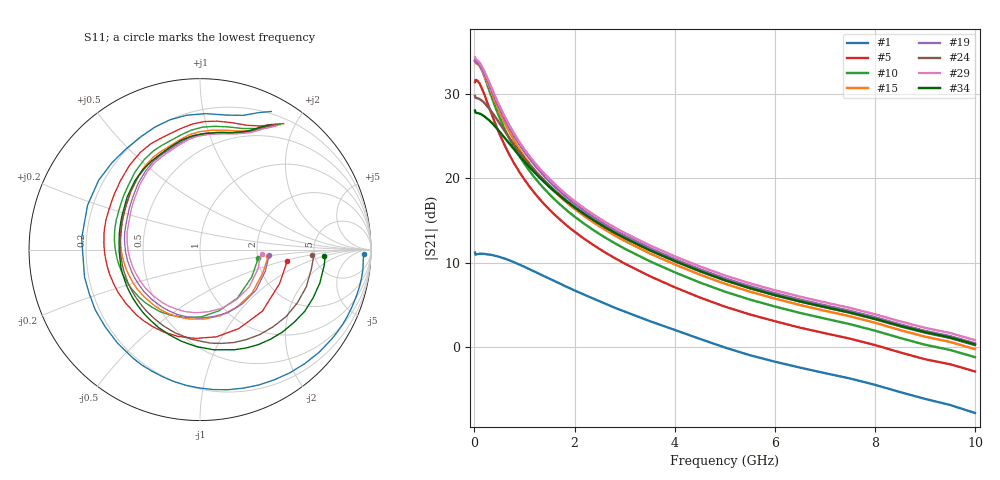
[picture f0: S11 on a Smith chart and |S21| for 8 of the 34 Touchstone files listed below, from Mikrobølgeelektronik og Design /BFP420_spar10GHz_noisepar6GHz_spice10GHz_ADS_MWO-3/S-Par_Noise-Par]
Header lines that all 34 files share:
! Infineon Technologies  Discrete & RF Semiconductors
! BFP420
! Common Emitter S-Parameters:  Nov 2009
# GHz  S  MA  R  50
!  f  S11  S21  S12  S22
! GHz  MAG  ANG  MAG  ANG  MAG  ANG  MAG  ANG
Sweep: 10 MHz to 10 GHz
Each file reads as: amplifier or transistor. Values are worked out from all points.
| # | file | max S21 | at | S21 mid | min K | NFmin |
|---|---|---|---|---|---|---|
| 1 | 2p0V51M0.s2p | 11.2 dB | 10 MHz | 7.5 dB at 1.7 GHz | 0.01 | 0.53 dB |
| 2 | 2p0V53M0.s2p | 20.1 dB | 10 MHz | 12.9 dB at 1.7 GHz | 0.03 | 0.57 dB |
| 3 | 2p0V55M0.s2p | 23.9 dB | 10 MHz | 14.3 dB at 1.7 GHz | 0.05 | 0.66 dB |
| 4 | 2p0V58M0.s2p | 27.1 dB | 10 MHz | 15.1 dB at 1.7 GHz | 0.09 | 0.79 dB |
| 5 | 2p0V520M.s2p | 31.7 dB | 20 MHz | 15.2 dB at 1.7 GHz | 0.23 | 1.23 dB |
| 6 | 2p0V530M.s2p | 32.1 dB | 20 MHz | 13.1 dB at 1.7 GHz | 0.40 | 1.51 dB |
| 7 | 2p0V535M.s2p | 31.5 dB | 20 MHz | 10.8 dB at 1.7 GHz | 0.51 | 1.64 dB |
| 8 | 2p1V00M5.s2p | 6.1 dB | 10 MHz | 3.9 dB at 1.7 GHz | -0.01 | 0.68 dB |
| 9 | 2p1V01M2.s2p | 12.8 dB | 10 MHz | 9.2 dB at 1.7 GHz | 0.01 | 0.53 dB |
| 10 | 2p1V035M.s2p | 34.1 dB | 10 MHz | 17.0 dB at 1.7 GHz | 0.30 | 1.64 dB |
| 11 | 2p1V53M0.s2p | 20.2 dB | 10 MHz | 14.1 dB at 1.7 GHz | -0.02 | 0.57 dB |
| 12 | 2p1V58M0.s2p | 27.3 dB | 10 MHz | 16.8 dB at 1.7 GHz | 0.08 | 0.79 dB |
| 13 | 2p1V512M.s2p | 29.7 dB | 10 MHz | 17.4 dB at 1.7 GHz | 0.11 | 0.95 dB |
| 14 | 2p1V525M.s2p | 33.2 dB | 10 MHz | 17.9 dB at 1.7 GHz | 0.21 | 1.38 dB |
| 15 | 2p1V530M.s2p | 33.9 dB | 10 MHz | 17.9 dB at 1.7 GHz | 0.25 | 1.51 dB |
| 16 | 2p1V535M.s2p | 34.3 dB | 10 MHz | 17.8 dB at 1.7 GHz | 0.27 | 1.64 dB |
| 17 | 2p2V015M.s2p | 31.0 dB | 10 MHz | 17.9 dB at 1.7 GHz | 0.13 | 1.06 dB |
| 18 | 2p2V58M0.s2p | 27.3 dB | 10 MHz | 17.3 dB at 1.7 GHz | 0.07 | 0.79 dB |
| 19 | 2p2V530M.s2p | 34.0 dB | 10 MHz | 18.5 dB at 1.7 GHz | 0.23 | 1.51 dB |
| 20 | 2p2V535M.s2p | 34.4 dB | 10 MHz | 18.5 dB at 1.7 GHz | 0.26 | 1.64 dB |
| 21 | 2p3V00M5.s2p | 6.0 dB | 10 MHz | 4.2 dB at 1.7 GHz | -0.15 | 0.68 dB |
| 22 | 2p3V02M5.s2p | 18.8 dB | 10 MHz | 13.8 dB at 1.7 GHz | 0.03 | 0.55 dB |
| 23 | 2p3V05M0.s2p | 24.0 dB | 10 MHz | 16.4 dB at 1.7 GHz | 0.07 | 0.66 dB |
| 24 | 2p3V012M.s2p | 29.8 dB | 10 MHz | 18.1 dB at 1.7 GHz | 0.14 | 0.95 dB |
| 25 | 2p3V51M0.s2p | 11.6 dB | 10 MHz | 9.0 dB at 1.7 GHz | -0.29 | 0.53 dB |
| 26 | 2p3V52M0.s2p | 17.0 dB | 10 MHz | 12.9 dB at 1.7 GHz | 0.04 | 0.53 dB |
| 27 | 2p3V53M0.s2p | 20.3 dB | 10 MHz | 14.8 dB at 1.7 GHz | 0.06 | 0.57 dB |
| 28 | 2p3V58M0.s2p | 27.3 dB | 10 MHz | 17.6 dB at 1.7 GHz | 0.14 | 0.79 dB |
| 29 | 2p3V535M.s2p | 34.4 dB | 10 MHz | 18.8 dB at 1.7 GHz | 0.29 | 1.64 dB |
| 30 | 2p4V06M0.s2p | 25.4 dB | 10 MHz | 17.1 dB at 1.7 GHz | 0.15 | 0.70 dB |
| 31 | 2p4V012M.s2p | 29.8 dB | 10 MHz | 18.3 dB at 1.7 GHz | 0.24 | 0.95 dB |
| 32 | 2p4V020M.s2p | 32.3 dB | 10 MHz | 18.7 dB at 1.7 GHz | 0.31 | 1.23 dB |
| 33 | 2p4V50M5.s2p | 6.1 dB | 10 MHz | 4.4 dB at 1.7 GHz | 0.02 | 0.68 dB |
| 34 | 2p4V59M0.s2p | 28.1 dB | 10 MHz | 18.0 dB at 1.7 GHz | 0.27 | - |

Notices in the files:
7. Semester/Mikrobølgeelektronik og Design /BFP420_spar10GHz_noisepar6GHz_spice10GHz_ADS_MWO-3/S-Par_Noise-Par/2p0V51M0.s2p:
(c) 2009  Infineon Technologies AG, Munich
